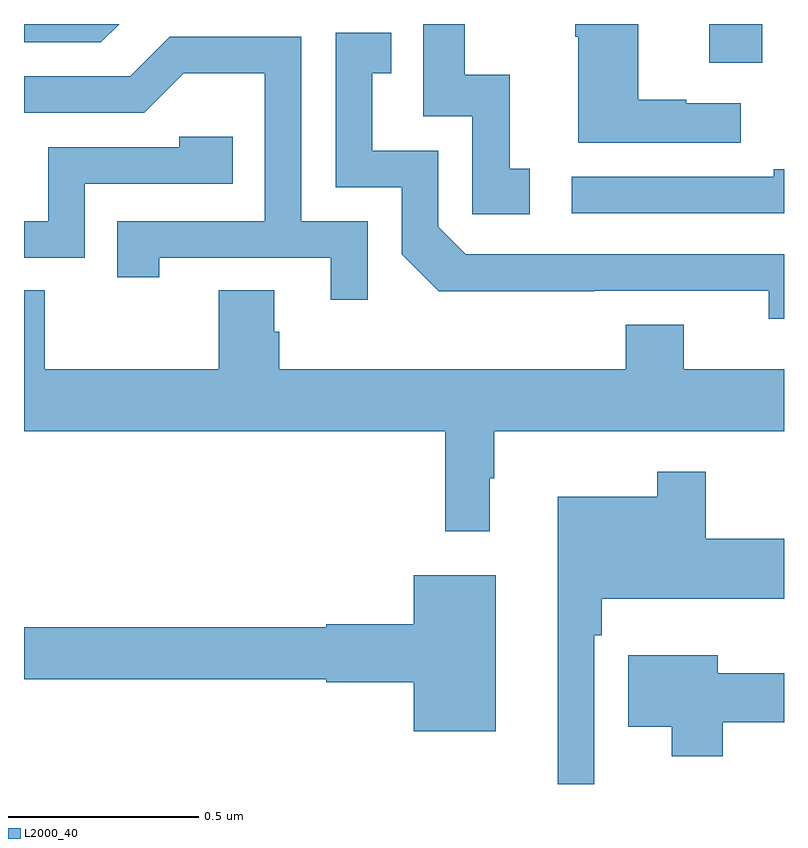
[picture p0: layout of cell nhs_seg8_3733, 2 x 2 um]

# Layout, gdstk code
import gdstk
lib = gdstk.Library(unit=1e-6, precision=1e-09)
def R(c, l, rs):  # rectangles x0, y0, x1, y1
    for r in rs: c.add(gdstk.rectangle(r[:2], r[2:], *l))
def P(c, l, *ps):  # polygons
    for p in ps: c.add(gdstk.Polygon(p, *l))
L2000_40 = (2000, 40)

nhs_seg8_3733 = lib.new_cell('nhs_seg8_3733')
R(nhs_seg8_3733, L2000_40, [(162.803,1122.798,162.943,1122.9)])
P(nhs_seg8_3733, L2000_40, [(161.25,1122.9),(161,1122.9),(161,1122.852),(161.202,1122.852)],
  [(162.331,1122.519),(162.278,1122.519),(162.278,1122.766),(162.16,1122.766),(162.16,1122.9),(162.051,1122.9),(162.051,1122.657),(162.18,1122.657),(162.18,1122.399),(162.331,1122.399)],
  [(162.886,1122.691),(162.743,1122.691),(162.743,1122.701),(162.616,1122.701),(162.616,1122.9),(162.451,1122.9),(162.451,1122.866),(162.458,1122.866),(162.458,1122.587),(162.886,1122.587)],
  [(163,1122.294),(162.162,1122.294),(162.09,1122.366),(162.09,1122.567),(161.917,1122.567),(161.917,1122.771),(161.966,1122.771),(161.966,1122.877),(161.82,1122.877),(161.82,1122.471),(161.994,1122.471),(161.994,1122.294),(162.092,1122.197),(162.5,1122.197),(162.5,1122.198),(162.96,1122.198),(162.96,1122.125),(163,1122.125)],
  [(161.904,1122.381),(161.73,1122.381),(161.73,1122.867),(161.384,1122.867),(161.279,1122.762),(161,1122.762),(161,1122.666),(161.316,1122.666),(161.42,1122.77),(161.634,1122.77),(161.634,1122.381),(161.245,1122.381),(161.245,1122.234),(161.356,1122.234),(161.356,1122.285),(161.807,1122.285),(161.807,1122.174),(161.904,1122.174)],
  [(161.16,1122.48),(161.549,1122.48),(161.549,1122.603),(161.409,1122.603),(161.409,1122.576),(161.064,1122.576),(161.064,1122.381),(161,1122.381),(161,1122.285),(161.16,1122.285)],
  [(163,1122.518),(162.973,1122.518),(162.973,1122.498),(162.441,1122.498),(162.441,1122.402),(163,1122.402)],
  [(162.226,1121.705),(162.238,1121.705),(162.238,1121.828),(163,1121.828),(163,1121.992),(162.736,1121.992),(162.736,1122.109),(162.584,1122.109),(162.584,1121.992),(161.672,1121.992),(161.672,1122.09),(161.659,1122.09),(161.659,1122.2),(161.512,1122.2),(161.512,1121.992),(161.055,1121.992),(161.055,1122.2),(161,1122.2),(161,1121.828),(162.109,1121.828),(162.109,1121.565),(162.226,1121.565)],
  [(162.501,1121.291),(162.521,1121.291),(162.521,1121.387),(163,1121.387),(163,1121.545),(162.794,1121.545),(162.794,1121.722),(162.666,1121.722),(162.666,1121.656),(162.404,1121.656),(162.404,1120.9),(162.501,1120.9)],
  [(162.241,1121.449),(162.026,1121.449),(162.026,1121.32),(161.796,1121.32),(161.796,1121.312),(161,1121.312),(161,1121.176),(161.796,1121.176),(161.796,1121.168),(162.026,1121.168),(162.026,1121.039),(162.241,1121.039)],
  [(162.839,1121.062),(163,1121.062),(163,1121.191),(162.826,1121.191),(162.826,1121.239),(162.59,1121.239),(162.59,1121.051),(162.704,1121.051),(162.704,1120.973),(162.839,1120.973)])

lib.write_gds('nhs_seg8_3733.gds')
